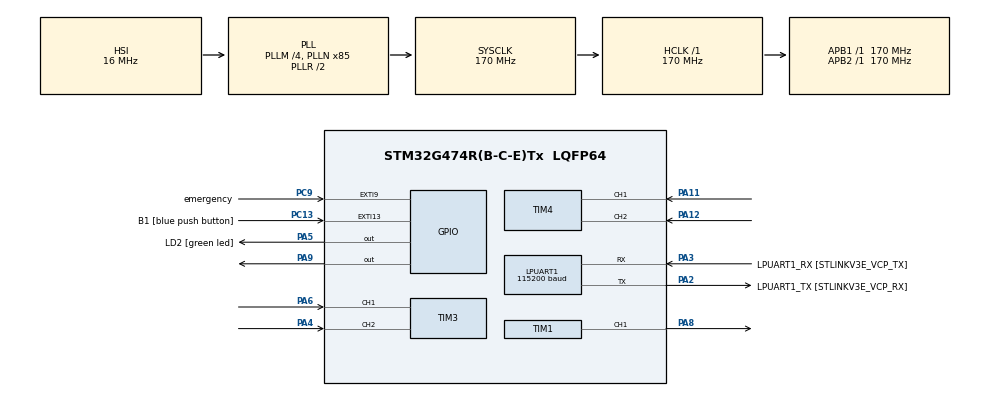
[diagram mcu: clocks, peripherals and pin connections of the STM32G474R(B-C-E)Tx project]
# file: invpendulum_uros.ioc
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ARM.CMSIS-DSP.1.15.0.CMSISJjDSP=Source
ARM.CMSIS.6.0.0.CMSISJjCORE=true
Dma.LPUART1_RX.0.Direction=DMA_PERIPH_TO_MEMORY
Dma.LPUART1_RX.0.EventEnable=DISABLE
Dma.LPUART1_RX.0.Instance=DMA1_Channel1
Dma.LPUART1_RX.0.MemDataAlignment=DMA_MDATAALIGN_BYTE
Dma.LPUART1_RX.0.MemInc=DMA_MINC_ENABLE
Dma.LPUART1_RX.0.Mode=DMA_CIRCULAR
Dma.LPUART1_RX.0.PeriphDataAlignment=DMA_PDATAALIGN_BYTE
Dma.LPUART1_RX.0.PeriphInc=DMA_PINC_DISABLE
Dma.LPUART1_RX.0.Polarity=HAL_DMAMUX_REQ_GEN_RISING
Dma.LPUART1_RX.0.Priority=DMA_PRIORITY_VERY_HIGH
Dma.LPUART1_RX.0.RequestNumber=1
Dma.LPUART1_RX.0.SignalID=NONE
Dma.LPUART1_RX.0.SyncEnable=DISABLE
Dma.LPUART1_RX.0.SyncPolarity=HAL_DMAMUX_SYNC_NO_EVENT
Dma.LPUART1_RX.0.SyncRequestNumber=1
Dma.LPUART1_RX.0.SyncSignalID=NONE
Dma.LPUART1_TX.1.Direction=DMA_MEMORY_TO_PERIPH
Dma.LPUART1_TX.1.EventEnable=DISABLE
Dma.LPUART1_TX.1.Instance=DMA1_Channel2
Dma.LPUART1_TX.1.MemDataAlignment=DMA_MDATAALIGN_BYTE
Dma.LPUART1_TX.1.MemInc=DMA_MINC_ENABLE
Dma.LPUART1_TX.1.Mode=DMA_NORMAL
Dma.LPUART1_TX.1.PeriphDataAlignment=DMA_PDATAALIGN_BYTE
Dma.LPUART1_TX.1.PeriphInc=DMA_PINC_DISABLE
Dma.LPUART1_TX.1.Polarity=HAL_DMAMUX_REQ_GEN_RISING
Dma.LPUART1_TX.1.Priority=DMA_PRIORITY_VERY_HIGH
Dma.LPUART1_TX.1.RequestNumber=1
Dma.LPUART1_TX.1.SignalID=NONE
Dma.LPUART1_TX.1.SyncEnable=DISABLE
Dma.LPUART1_TX.1.SyncPolarity=HAL_DMAMUX_SYNC_NO_EVENT
Dma.LPUART1_TX.1.SyncRequestNumber=1
Dma.LPUART1_TX.1.SyncSignalID=NONE
Dma.Request0=LPUART1_RX
Dma.Request1=LPUART1_TX
FREERTOS.Tasks01=defaultTask,24,3000,StartDefaultTask,As weak,NULL,Static,defaultTaskBuffer,defaultTaskControlBlock
FREERTOS.configENABLE_FPU=1
LPUART1.BaudRate=115200
Mcu.Family=STM32G4
Mcu.Name=STM32G474R(B-C-E)Tx
Mcu.Package=LQFP64
NVIC.DMA1_Channel1_IRQn=true\:5\:0\:false\:false\:true\:true\:false\:true\:true
NVIC.DMA1_Channel2_IRQn=true\:5\:0\:false\:false\:true\:true\:false\:true\:true
NVIC.EXTI15_10_IRQn=true\:5\:0\:false\:false\:true\:true\:true\:true\:true
NVIC.EXTI9_5_IRQn=true\:5\:0\:false\:false\:true\:true\:true\:true\:true
NVIC.LPUART1_IRQn=true\:5\:0\:false\:false\:true\:true\:true\:true\:true
NVIC.PriorityGroup=NVIC_PRIORITYGROUP_4
NVIC.TIM2_IRQn=true\:5\:0\:false\:false\:true\:true\:true\:true\:true
NVIC.TIM6_DAC_IRQn=true\:15\:0\:false\:false\:true\:false\:false\:true\:true
NVIC.TimeBase=TIM6_DAC_IRQn
NVIC.TimeBaseIP=TIM6
PA11.Signal=S_TIM4_CH1
PA12.Signal=S_TIM4_CH2
PA13.GPIO_Label=T_SWDIO
PA13.Signal=SYS_JTMS-SWDIO
PA14.GPIO_Label=T_SWCLK
PA14.Signal=SYS_JTCK-SWCLK
PA2.GPIO_Label=LPUART1_TX [STLINKV3E_VCP_RX]
PA2.Mode=Asynchronous
PA2.Signal=LPUART1_TX
PA3.GPIO_Label=LPUART1_RX [STLINKV3E_VCP_TX]
PA3.Mode=Asynchronous
PA3.Signal=LPUART1_RX
PA4.Signal=S_TIM3_CH2
PA5.GPIO_Label=LD2 [green led]
PA5.Signal=GPIO_Output
PA6.Signal=S_TIM3_CH1
PA8.Signal=S_TIM1_CH1
PA9.Signal=GPIO_Output
PB3.GPIO_Label=T_SWO
PB3.Signal=SYS_JTDO-SWO
PC13.GPIO_Label=B1 [blue push button]
PC13.Signal=GPXTI13
PC14-OSC32_IN.GPIO_Label=RCC_OSC32_IN
PC14-OSC32_IN.Signal=RCC_OSC32_IN
PC15-OSC32_OUT.GPIO_Label=RCC_OSC32_OUT
PC15-OSC32_OUT.Signal=RCC_OSC32_OUT
PC9.GPIO_Label=emergency
PC9.Signal=GPXTI9
PF0-OSC_IN.GPIO_Label=RCC_OSC_IN
PF0-OSC_IN.Signal=RCC_OSC_IN
PF1-OSC_OUT.GPIO_Label=RCC_OSC_OUT
PF1-OSC_OUT.Signal=RCC_OSC_OUT
ProjectManager.HeapSize=0x200
ProjectManager.StackSize=0x400
ProjectManager.TargetToolchain=STM32CubeIDE
RCC.ADC12Freq_Value=170000000
RCC.ADC345Freq_Value=170000000
RCC.AHBFreq_Value=170000000
RCC.APB1Freq_Value=170000000
RCC.APB1TimFreq_Value=170000000
RCC.APB2Freq_Value=170000000
RCC.APB2TimFreq_Value=170000000
RCC.CortexFreq_Value=170000000
RCC.EXTERNAL_CLOCK_VALUE=12288000
RCC.HCLKFreq_Value=170000000
RCC.HSE_VALUE=24000000
RCC.HSI48_VALUE=48000000
RCC.HSI_VALUE=16000000
RCC.LSE_VALUE=32768
RCC.PLLM=RCC_PLLM_DIV4
RCC.PLLN=85
RCC.RTCClockSelection=RCC_RTCCLKSOURCE_LSE
RCC.SYSCLKFreq_VALUE=170000000
RCC.SYSCLKSource=RCC_SYSCLKSOURCE_PLLCLK
RCC.USBFreq_Value=170000000
RCC.VCOOutputFreq_Value=340000000
SH.S_TIM1_CH1.0=TIM1_CH1,PWM Generation1 CH1
SH.S_TIM3_CH1.0=TIM3_CH1,Encoder_Interface
SH.S_TIM3_CH2.0=TIM3_CH2,Encoder_Interface
SH.S_TIM4_CH1.0=TIM4_CH1,Encoder_Interface
SH.S_TIM4_CH2.0=TIM4_CH2,Encoder_Interface
TIM1.Channel-PWM\ Generation1\ CH1=TIM_CHANNEL_1
TIM2.PeriodNoDither=999
TIM2.Prescaler=169
TIM3.EncoderMode=TIM_ENCODERMODE_TI12
TIM4.EncoderMode=TIM_ENCODERMODE_TI12
VP_ARM.CMSIS-DSP_VS_CMSISJjDSP_1.15.0_1.15.0.Mode=CMSISJjDSP
VP_ARM.CMSIS_VS_CMSISJjCORE_6.0.0_6.0.0.Mode=CMSISJjCORE
VP_FREERTOS_VS_CMSIS_V2.Mode=CMSIS_V2
VP_IWDG_VS_IWDG.Mode=IWDG_Activate
VP_SYS_VS_DBSignals.Mode=DisableDeadBatterySignals
VP_SYS_VS_tim6.Mode=TIM6
VP_TIM2_VS_ClockSourceINT.Mode=Internal
board=NUCLEO-G474RE

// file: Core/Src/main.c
/* USER CODE BEGIN Header */
/**
 ******************************************************************************
 * @file           : main.c
 * @brief          : Main program body
 ******************************************************************************
 * @attention
 *
 * Copyright (c) 2025 STMicroelectronics.
 * All rights reserved.
 *
 * This software is licensed under terms that can be found in the LICENSE file
 * in the root directory of this software component.
 * If no LICENSE file comes with this software, it is provided AS-IS.
 *
 ******************************************************************************
 */
/* USER CODE END Header */
#include "main.h"
#include "cmsis_os.h"
#include "dma.h"
#include "iwdg.h"
#include "usart.h"
#include "tim.h"
#include "gpio.h"

/* USER CODE BEGIN Includes */
#include "rip_config.h"

#include <rcl/rcl.h>
#include <rcl/error_handling.h>
#include <rclc/rclc.h>
#include <rclc/executor.h>
#include <uxr/client/transport.h>
#include <rmw_microxrcedds_c/config.h>
#include <rmw_microros/rmw_microros.h>

#include <sensor_msgs/msg/joint_state.h>
#include <rosidl_runtime_c/string_functions.h>
#include <rosidl_runtime_c/primitives_sequence_functions.h>

#include <math.h>
/* USER CODE END Includes */

/* USER CODE BEGIN PM */
#define RCLSOFTCHECK(fn) if (fn != RCL_RET_OK) {};
/* USER CODE END PM */

/* USER CODE BEGIN PV */
rclc_support_t support;
rcl_allocator_t allocator;
rcl_node_t node;
rcl_init_options_t init_options;
rclc_executor_t executor;

rcl_timer_t timer;
const int timeout_ms = 1;
const unsigned int timer_period = RCL_MS_TO_NS(10);

rcl_publisher_t publisher;
sensor_msgs__msg__JointState joint_msg;

float cmd_energy_norm, cmd_lqr_volt;
int total_cmd, cmd_energy, cmd_lqr, cmd_kick;

float alpha, alpha_shifted, alpha_dot, theta, theta_dot, voltage_input;

typedef enum {
	STATE_WAIT_BUTTON, STATE_KICK, STATE_SWINGUP, STATE_LQR, STATE_EMERGENCY
} PendulumState;

PendulumState state = STATE_WAIT_BUTTON;
int kick_counter = 0;

int debug, emer, released, led_counter = 0;

/* USER CODE END PV */

void SystemClock_Config(void);
void MX_FREERTOS_Init(void);
/* USER CODE BEGIN PFP */
bool cubemx_transport_open(struct uxrCustomTransport *transport);
bool cubemx_transport_close(struct uxrCustomTransport *transport);
size_t cubemx_transport_write(struct uxrCustomTransport *transport,
		const uint8_t *buf, size_t len, uint8_t *err);
size_t cubemx_transport_read(struct uxrCustomTransport *transport, uint8_t *buf,
		size_t len, int timeout, uint8_t *err);

void* microros_allocate(size_t size, void *state);
void microros_deallocate(void *pointer, void *state);
void* microros_reallocate(void *pointer, size_t size, void *state);
void* microros_zero_allocate(size_t number_of_elements, size_t size_of_element,
		void *state);

static inline float wrap_pi(float x);
static inline float wrap_2pi(float x);
/* USER CODE END PFP */

/* USER CODE BEGIN 0 */
void timer_callback(rcl_timer_t *timer, int64_t last_call_time) {
	if (timer != NULL) {
		// Sync micro-ROS session
//		rmw_uros_sync_session(timeout_ms);

        int64_t ns = rmw_uros_epoch_nanos();
        if (ns > 0) {
            joint_msg.header.stamp.sec     = (int32_t)(ns / 1000000000LL);
            joint_msg.header.stamp.nanosec = (uint32_t)(ns % 1000000000LL);
        } else {
            joint_msg.header.stamp.sec = 0;
            joint_msg.header.stamp.nanosec = 0;
        }

        // Update joint states
        joint_msg.position.data[0] = theta;
        joint_msg.velocity.data[0] = theta_dot;
        joint_msg.position.data[1] = alpha;
        joint_msg.velocity.data[1] = alpha_dot;

        // Publish the joint state
        RCLSOFTCHECK(rcl_publish(&publisher, &joint_msg, NULL));

        HAL_IWDG_Refresh(&hiwdg);
	}
}

void StartDefaultTask(void *argument) {

	// micro-ROS configuration
	rmw_uros_set_custom_transport(
	true, (void*) &hlpuart1, cubemx_transport_open, cubemx_transport_close,
			cubemx_transport_write, cubemx_transport_read);

	rcl_allocator_t freeRTOS_allocator =
			rcutils_get_zero_initialized_allocator();
	freeRTOS_allocator.allocate = microros_allocate;
	freeRTOS_allocator.deallocate = microros_deallocate;
	freeRTOS_allocator.reallocate = microros_reallocate;
	freeRTOS_allocator.zero_allocate = microros_zero_allocate;

	if (!rcutils_set_default_allocator(&freeRTOS_allocator)) {
		printf("Error on default allocators (line %d)\n", __LINE__);
	}

	allocator = rcl_get_default_allocator();

	//create init_options
	init_options = rcl_get_zero_initialized_init_options();
	RCLSOFTCHECK(rcl_init_options_init(&init_options, allocator));
	RCLSOFTCHECK(rcl_init_options_set_domain_id(&init_options, 99));

	rclc_support_init_with_options(&support, 0, NULL, &init_options,
			&allocator);

	// create node
	rclc_node_init_default(&node, "inv_pendulum", "", &support);

    sensor_msgs__msg__JointState__init(&joint_msg);

    // name[]
    rosidl_runtime_c__String__Sequence__init(&joint_msg.name, 2);
    rosidl_runtime_c__String__assign(&joint_msg.name.data[0], "joint_base_to_arm");
    rosidl_runtime_c__String__assign(&joint_msg.name.data[1], "joint_arm_to_pendulum");

    // position[] and velocity[]
    rosidl_runtime_c__double__Sequence__init(&joint_msg.position, 2);
    rosidl_runtime_c__double__Sequence__init(&joint_msg.velocity, 2);

	// create publisher
    RCLSOFTCHECK(rclc_publisher_init_default(
        &publisher, &node,
        ROSIDL_GET_MSG_TYPE_SUPPORT(sensor_msgs, msg, JointState),
        "joint_states_raw"));

	// create timer
	rclc_timer_init_default(&timer, &support, timer_period, timer_callback);

	// create executor
	executor = rclc_executor_get_zero_initialized_executor();
	rclc_executor_init(&executor, &support.context, 1, &allocator);
	rclc_executor_add_timer(&executor, &timer);
	rclc_executor_spin(&executor);
}
/* USER CODE END 0 */

int main(void)
{

  /* MCU Configuration--------------------------------------------------------*/

  /* Reset of all peripherals, Initializes the Flash interface and the Systick. */
  HAL_Init();

  /* Configure the system clock */
  SystemClock_Config();

  /* Initialize all configured peripherals */
  MX_GPIO_Init();
  MX_DMA_Init();
  MX_LPUART1_UART_Init();
  MX_IWDG_Init();
  MX_TIM1_Init();
  MX_TIM2_Init();
  MX_TIM3_Init();
  MX_TIM4_Init();
  /* USER CODE BEGIN 2 */
	config_begin();
  /* USER CODE END 2 */

  /* Init scheduler */
  osKernelInitialize();  /* Call init function for freertos objects (in cmsis_os2.c) */
  MX_FREERTOS_Init();

  /* Start scheduler */
  osKernelStart();

  /* We should never get here as control is now taken by the scheduler */

  /* Infinite loop */
	while (1) {

    /* USER CODE BEGIN 3 */
		emer = HAL_GPIO_ReadPin(emergency_GPIO_Port, emergency_Pin);
	}
  /* USER CODE END 3 */
}

void SystemClock_Config(void)
{
  RCC_OscInitTypeDef RCC_OscInitStruct = {0};
  RCC_ClkInitTypeDef RCC_ClkInitStruct = {0};

  /** Configure the main internal regulator output voltage
  */
  HAL_PWREx_ControlVoltageScaling(PWR_REGULATOR_VOLTAGE_SCALE1_BOOST);

  /** Initializes the RCC Oscillators according to the specified parameters
  * in the RCC_OscInitTypeDef structure.
  */
  RCC_OscInitStruct.OscillatorType = RCC_OSCILLATORTYPE_HSI|RCC_OSCILLATORTYPE_LSI;
  RCC_OscInitStruct.HSIState = RCC_HSI_ON;
  RCC_OscInitStruct.HSICalibrationValue = RCC_HSICALIBRATION_DEFAULT;
  RCC_OscInitStruct.LSIState = RCC_LSI_ON;
  RCC_OscInitStruct.PLL.PLLState = RCC_PLL_ON;
  RCC_OscInitStruct.PLL.PLLSource = RCC_PLLSOURCE_HSI;
  RCC_OscInitStruct.PLL.PLLM = RCC_PLLM_DIV4;
  RCC_OscInitStruct.PLL.PLLN = 85;
  RCC_OscInitStruct.PLL.PLLP = RCC_PLLP_DIV2;
  RCC_OscInitStruct.PLL.PLLQ = RCC_PLLQ_DIV2;
  RCC_OscInitStruct.PLL.PLLR = RCC_PLLR_DIV2;
  if (HAL_RCC_OscConfig(&RCC_OscInitStruct) != HAL_OK)
  {
    Error_Handler();
  }

  /** Initializes the CPU, AHB and APB buses clocks
  */
  RCC_ClkInitStruct.ClockType = RCC_CLOCKTYPE_HCLK|RCC_CLOCKTYPE_SYSCLK
                              |RCC_CLOCKTYPE_PCLK1|RCC_CLOCKTYPE_PCLK2;
  RCC_ClkInitStruct.SYSCLKSource = RCC_SYSCLKSOURCE_PLLCLK;
  RCC_ClkInitStruct.AHBCLKDivider = RCC_SYSCLK_DIV1;
  RCC_ClkInitStruct.APB1CLKDivider = RCC_HCLK_DIV1;
  RCC_ClkInitStruct.APB2CLKDivider = RCC_HCLK_DIV1;

  if (HAL_RCC_ClockConfig(&RCC_ClkInitStruct, FLASH_LATENCY_4) != HAL_OK)
  {
    Error_Handler();
  }
}

/* USER CODE BEGIN 4 */
static inline float wrap_pi(float x) {
	while (x > M_PI)
		x -= 2.0f * M_PI;
	while (x <= -M_PI)
		x += 2.0f * M_PI;
	return x;
}

static inline float wrap_2pi(float x) {
	while (x >= 2.0f * M_PI)
		x -= 2.0f * M_PI;
	while (x < 0.0f)
		x += 2.0f * M_PI;
	return x;
}

void HAL_GPIO_EXTI_Callback(uint16_t GPIO_Pin) {
	if (GPIO_Pin == emergency_Pin) {
		state = STATE_EMERGENCY;
		released = 0;
	}
}
/* USER CODE END 4 */

void HAL_TIM_PeriodElapsedCallback(TIM_HandleTypeDef *htim)
{
  if (htim->Instance == TIM6)
  {
    HAL_IncTick();
  }
  /* USER CODE BEGIN Callback 1 */
	if (htim == &htim2) {
		QEI_get_diff_count(&motor_encoder);
		QEI_compute_data(&motor_encoder);
		QEI_get_diff_count(&pendulum_encoder);
		QEI_compute_data(&pendulum_encoder);

		total_cmd = cmd_lqr + cmd_energy + cmd_kick;

		voltage_input = total_cmd * MOTOR_VOLTAGE_LIMIT / 65535.0;

		alpha = wrap_2pi(pendulum_encoder.rads);
		alpha_dot = FIR_process(&alpha_dot_filter, pendulum_encoder.radps);
		theta = motor_encoder.rads;
		theta_dot = FIR_process(&theta_dot_filter, motor_encoder.radps);
		theta_dot = kf_update(&motor_filter, voltage_input, theta);

		alpha_shifted = wrap_pi(alpha - M_PI);

		switch (state) {
		case STATE_WAIT_BUTTON:
			if (emer) {
				state = STATE_EMERGENCY;
			}

			cmd_lqr = 0;
			if (++led_counter >= 100) {
				HAL_GPIO_TogglePin(LD2_GPIO_Port, LD2_Pin);
				led_counter = 0;
			}
			if (HAL_GPIO_ReadPin(B1_GPIO_Port, B1_Pin) == GPIO_PIN_SET) {
				kick_counter = 0;
				state = STATE_KICK;
				QEI_reset(&pendulum_encoder);
				QEI_reset(&motor_encoder);
				kf_clear(&motor_filter);
				total_cmd = 0;
				HAL_GPIO_WritePin(LD2_GPIO_Port, LD2_Pin, GPIO_PIN_RESET);
			}

			MDXX_set_range(&motor, 2000, 0);
			break;
		case STATE_KICK:
			kick_counter++;
			cmd_kick = (kick_counter < 250) ? 7000 : -7000;

			if (kick_counter < 500) {
				MDXX_set_range(&motor, 2000, cmd_kick);
			} else {
				cmd_kick = 0;
				state = STATE_SWINGUP;
			}
			break;
		case STATE_SWINGUP:
			if (fabsf(alpha_shifted) < 0.25) {
				cmd_energy = 0;
				cmd_kick = 0;
				state = STATE_LQR;
			} else {
				cmd_energy_norm = EnergyCtrl_Update(&swingup, alpha, alpha_dot);
				cmd_energy = (int) (cmd_energy_norm * 6500.0f);
				MDXX_set_range(&motor, 2000, cmd_energy);
			}
			break;
		case STATE_LQR:
			if (fabsf(alpha_shifted) > 0.5f) {
				cmd_energy = 0;
				state = STATE_WAIT_BUTTON;
				MDXX_set_range(&motor, 2000, 0);
			} else {
				LQR_SetState(&lqr_ctrl, theta, alpha_shifted, theta_dot,
						alpha_dot);
				cmd_lqr_volt = LQR_Update(&lqr_ctrl);
				cmd_lqr = (int) (cmd_lqr_volt * 65535.0f / MOTOR_VOLTAGE_LIMIT);
				MDXX_set_range(&motor, 2000, cmd_lqr);
			}
			break;
		case STATE_EMERGENCY:
			cmd_lqr = 0;
			MDXX_set_range(&motor, 2000, 0);
			QEI_reset(&motor_encoder);
			QEI_reset(&pendulum_encoder);
			kf_clear(&motor_filter);
			total_cmd = 0;
			HAL_GPIO_WritePin(LD2_GPIO_Port, LD2_Pin, GPIO_PIN_SET);

			if (emer == 0) {
				released = 1;
			}

			if (released
					&& HAL_GPIO_ReadPin(B1_GPIO_Port, B1_Pin) == GPIO_PIN_SET) {
				state = STATE_WAIT_BUTTON;
				HAL_GPIO_WritePin(LD2_GPIO_Port, LD2_Pin, GPIO_PIN_RESET);
				led_counter = 0;
				released = 0;
				debug = 0;
			}
			break;
		}
	}
  /* USER CODE END Callback 1 */
}

void Error_Handler(void)
{
	__disable_irq();
	while (1) {
	}
}
